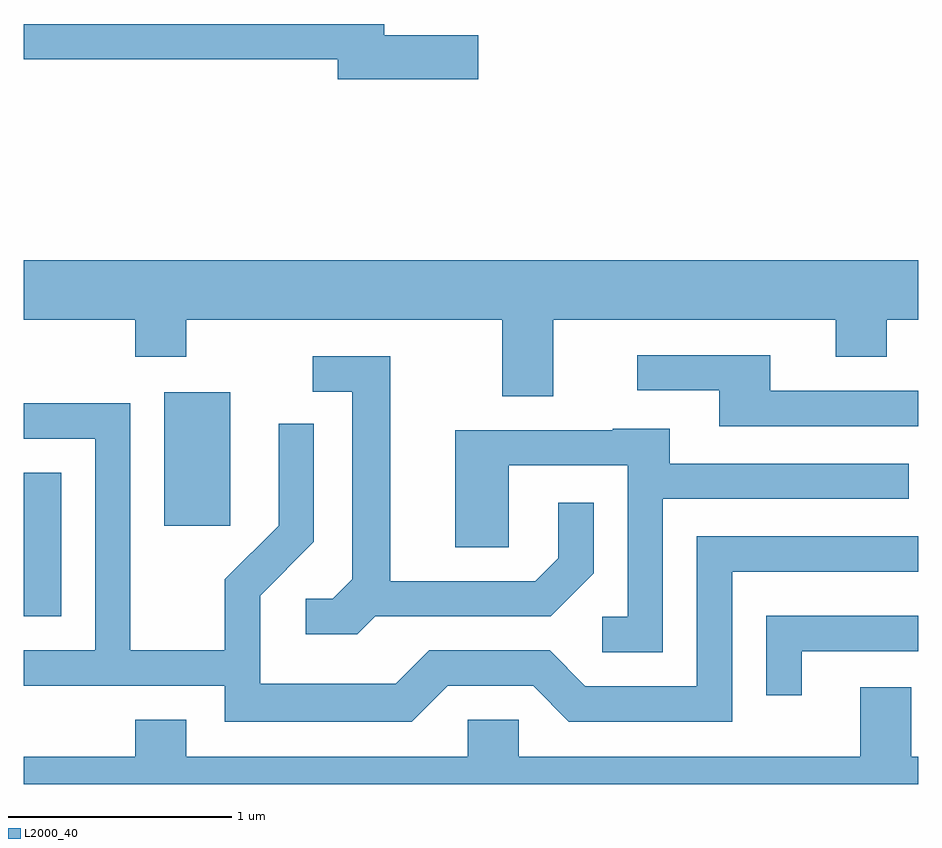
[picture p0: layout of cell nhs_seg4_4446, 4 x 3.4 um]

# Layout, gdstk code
import gdstk
lib = gdstk.Library(unit=1e-6, precision=1e-09)
def R(c, l, rs):  # rectangles x0, y0, x1, y1
    for r in rs: c.add(gdstk.rectangle(r[:2], r[2:], *l))
def P(c, l, *ps):  # polygons
    for p in ps: c.add(gdstk.Polygon(p, *l))
L2000_40 = (2000, 40)

nhs_seg4_4446 = lib.new_cell('nhs_seg4_4446')
R(nhs_seg4_4446, L2000_40, [(315.611,1306.731,315.779,1307.374), (316.241,1307.136,316.534,1307.734)])
P(nhs_seg4_4446, L2000_40, [(317.644,1309.329),(317.224,1309.329),(317.224,1309.379),(315.611,1309.379),(315.611,1309.221),(317.016,1309.221),(317.016,1309.131),(317.644,1309.131)],
  [(317.979,1308.056),(319.241,1308.056),(319.241,1307.891),(319.469,1307.891),(319.469,1308.056),(319.611,1308.056),(319.611,1308.324),(315.611,1308.324),(315.611,1308.056),(316.111,1308.056),(316.111,1307.891),(316.339,1307.891),(316.339,1308.056),(317.751,1308.056),(317.751,1307.716),(317.979,1307.716)],
  [(319.611,1307.739),(318.949,1307.739),(318.949,1307.899),(318.353,1307.899),(318.353,1307.741),(318.721,1307.741),(318.721,1307.581),(319.611,1307.581)],
  [(317.182,1306.731),(317.967,1306.731),(318.159,1306.924),(318.159,1307.238),(318.001,1307.238),(318.001,1306.992),(317.899,1306.889),(317.249,1306.889),(317.249,1307.894),(316.903,1307.894),(316.903,1307.736),(317.081,1307.736),(317.081,1306.897),(316.994,1306.809),(316.873,1306.809),(316.873,1306.651),(317.102,1306.651)],
  [(317.507,1306.421),(317.889,1306.421),(318.049,1306.261),(318.779,1306.261),(318.779,1306.931),(319.611,1306.931),(319.611,1307.089),(318.621,1307.089),(318.621,1306.419),(318.122,1306.419),(317.962,1306.579),(317.424,1306.579),(317.274,1306.429),(316.669,1306.429),(316.669,1306.824),(316.909,1307.064),(316.909,1307.593),(316.751,1307.593),(316.751,1307.137),(316.511,1306.897),(316.511,1306.579),(316.089,1306.579),(316.089,1307.684),(315.611,1307.684),(315.611,1307.526),(315.931,1307.526),(315.931,1306.579),(315.611,1306.579),(315.611,1306.421),(316.511,1306.421),(316.511,1306.261),(317.347,1306.261)],
  [(318.469,1307.256),(319.568,1307.256),(319.568,1307.414),(318.499,1307.414),(318.499,1307.569),(318.245,1307.569),(318.245,1307.564),(317.541,1307.564),(317.541,1307.041),(317.779,1307.041),(317.779,1307.406),(318.311,1307.406),(318.311,1306.729),(318.198,1306.729),(318.198,1306.571),(318.469,1306.571)],
  [(319.089,1306.576),(319.611,1306.576),(319.611,1306.734),(318.931,1306.734),(318.931,1306.378),(319.089,1306.378)],
  [(319.611,1306.104),(319.579,1306.104),(319.579,1306.414),(319.351,1306.414),(319.351,1306.104),(317.824,1306.104),(317.824,1306.269),(317.596,1306.269),(317.596,1306.104),(316.339,1306.104),(316.339,1306.269),(316.111,1306.269),(316.111,1306.104),(315.611,1306.104),(315.611,1305.982),(319.611,1305.982)])

lib.write_gds('nhs_seg4_4446.gds')
